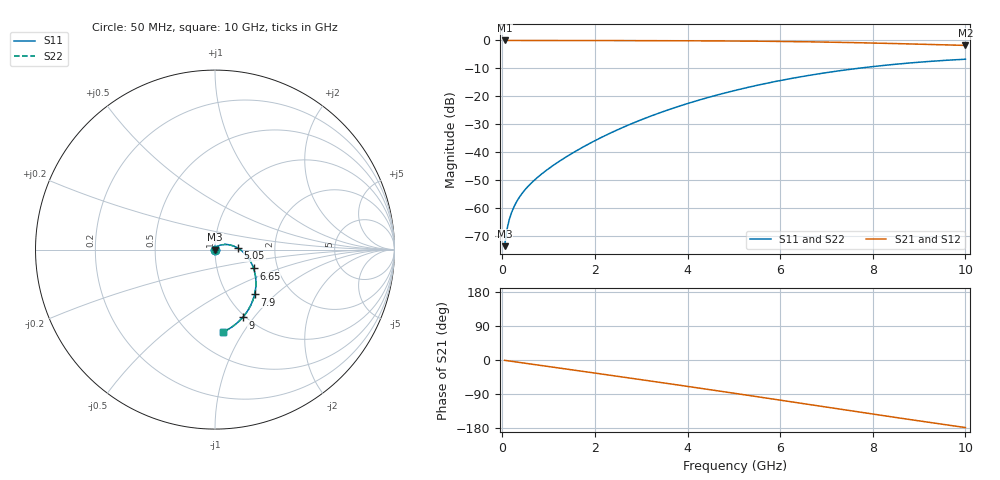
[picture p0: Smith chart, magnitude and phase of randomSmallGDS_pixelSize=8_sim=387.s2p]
! freq	dB(S11)	phase(S11)	dB(S12)	phase(S12)
!  dB(S21)	phase(S21)	dB(S22)	phase(S22)
!S-par simulation data
#  GHz  S  DB  R 50
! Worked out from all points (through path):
!   200 points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, 50 MHz to 10 GHz, reference 50 ohm
!   highest |S21| = 0.00 dB at 50 MHz (marker M1); lowest = -1.8 dB at 10 GHz (marker M2)
!   group delay of S21, straight-line fit = 49.8 ps
!   lowest |S11| = -73.6 dB at 50 MHz (marker M3), VSWR 1.00, Z = 50 + j0.0206 ohm
!   |S11| at or under -10 dB: start of sweep to 7.669 GHz
!   |S22| runs from -73.6 to -6.7 dB; largest |S21 - S12| = 0
!   S11 on the Smith chart (normalised r, x): 50 MHz: 1.00, +0.00; 5.05 GHz: 1.30, +0.02; 6.65 GHz: 1.50, -0.33; 7.9 GHz: 1.33, -0.75; 9 GHz: 0.97, -0.88; 10 GHz: 0.70, -0.82
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0.05  -73.60 80.2  -0.00 -0.9  -0.00 -0.9  -73.60 80.2
0.1  -67.65 83.9  -0.00 -1.7  -0.00 -1.7  -67.65 83.9
0.15  -64.12 84.7  -0.00 -2.6  -0.00 -2.6  -64.12 84.7
0.2  -61.59 84.7  -0.00 -3.5  -0.00 -3.5  -61.59 84.7
0.3  -57.98 83.9  -0.00 -5.2  -0.00 -5.2  -57.98 84.0
0.45  -54.24 82.2  -0.01 -7.8  -0.01 -7.8  -54.24 82.2
0.65  -50.64 79.6  -0.01 -11.3  -0.01 -11.3  -50.64 79.6
0.95  -46.49 75.4  -0.02 -16.4  -0.02 -16.4  -46.49 75.4
1.3  -42.50 70.1  -0.03 -22.4  -0.03 -22.4  -42.50 70.1
1.75  -38.07 62.7  -0.03 -30.2  -0.03 -30.2  -38.07 62.7
2.55  -31.50 48.5  -0.05 -44.1  -0.05 -44.1  -31.50 48.6
3.4  -25.89 33.2  -0.08 -59.0  -0.08 -59.0  -25.89 33.2
4.25  -21.32 17.8  -0.13 -74.1  -0.13 -74.1  -21.32 17.8
5.05  -17.78 3.3  -0.20 -88.5  -0.20 -88.5  -17.78 3.3
5.85  -14.84 -11.3  -0.32 -103.1  -0.32 -103.1  -14.84 -11.3
6.65  -12.42 -26.0  -0.49 -117.8  -0.49 -117.8  -12.42 -25.9
6.7  -12.29 -26.9  -0.51 -118.8  -0.51 -118.8  -12.29 -26.9
7.3  -10.80 -37.8  -0.68 -129.8  -0.68 -129.8  -10.80 -37.8
7.9  -9.54 -48.6  -0.88 -140.8  -0.88 -140.8  -9.54 -48.5
8.35  -8.74 -56.5  -1.05 -149.0  -1.05 -149.0  -8.74 -56.5
9  -7.78 -67.9  -1.33 -160.7  -1.33 -160.7  -7.78 -67.8
10  -6.71 -84.7  -1.77 -178.2  -1.77 -178.2  -6.71 -84.7
